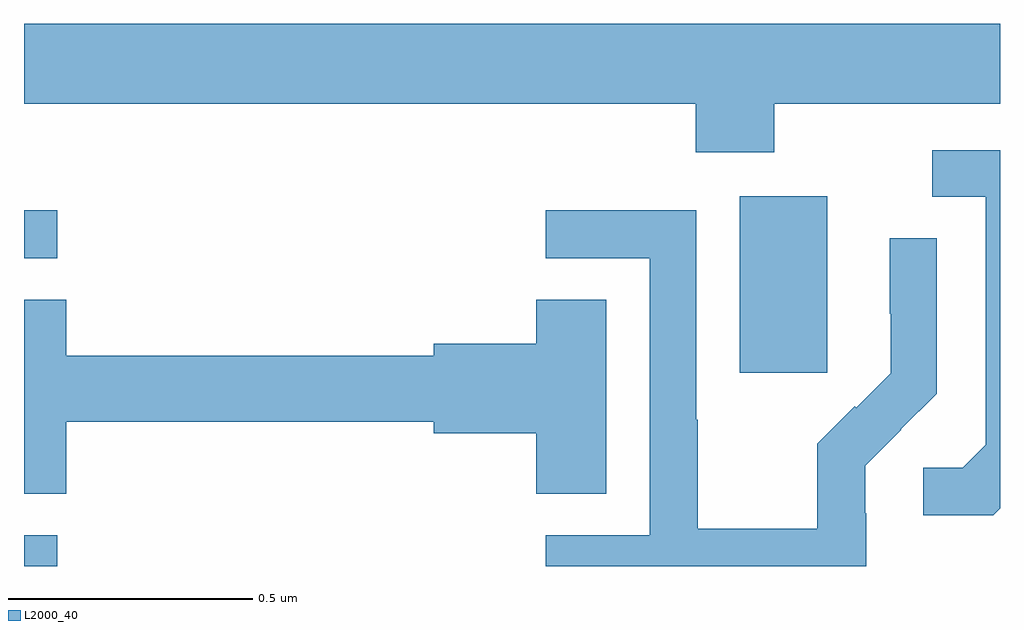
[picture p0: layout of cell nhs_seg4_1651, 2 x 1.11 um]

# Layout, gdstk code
import gdstk
lib = gdstk.Library(unit=1e-6, precision=1e-09)
def R(c, l, rs):  # rectangles x0, y0, x1, y1
    for r in rs: c.add(gdstk.rectangle(r[:2], r[2:], *l))
def P(c, l, *ps):  # polygons
    for p in ps: c.add(gdstk.Polygon(p, *l))
L2000_40 = (2000, 40)

nhs_seg4_1651 = lib.new_cell('nhs_seg4_1651')
R(nhs_seg4_1651, L2000_40, [(131,767.9,131.068,767.964), (132.467,768.297,132.646,768.658), (131,768.531,131.068,768.63)])
P(nhs_seg4_1651, L2000_40, [(132.537,768.848),(133,768.848),(133,769.012),(131,769.012),(131,768.848),(132.377,768.848),(132.377,768.749),(132.537,768.749)],
  [(133,768.019),(133,768.753),(132.861,768.753),(132.861,768.657),(132.971,768.657),(132.971,768.149),(132.924,768.102),(132.843,768.102),(132.843,768.005),(132.986,768.005)],
  [(132.726,768.009),(132.724,768.009),(132.724,768.106),(132.798,768.18),(132.797,768.181),(132.87,768.254),(132.87,768.572),(132.774,768.572),(132.774,768.418),(132.776,768.418),(132.776,768.296),(132.705,768.225),(132.702,768.228),(132.625,768.151),(132.625,767.977),(132.381,767.977),(132.381,768.2),(132.378,768.2),(132.378,768.63),(132.069,768.63),(132.069,768.531),(132.282,768.531),(132.282,767.964),(132.069,767.964),(132.069,767.9),(132.726,767.9)],
  [(131.087,768.196),(131.84,768.196),(131.84,768.173),(132.05,768.173),(132.05,768.049),(132.193,768.049),(132.193,768.446),(132.05,768.446),(132.05,768.356),(131.84,768.356),(131.84,768.332),(131.087,768.332),(131.087,768.446),(131,768.446),(131,768.049),(131.087,768.049)])

lib.write_gds('nhs_seg4_1651.gds')
